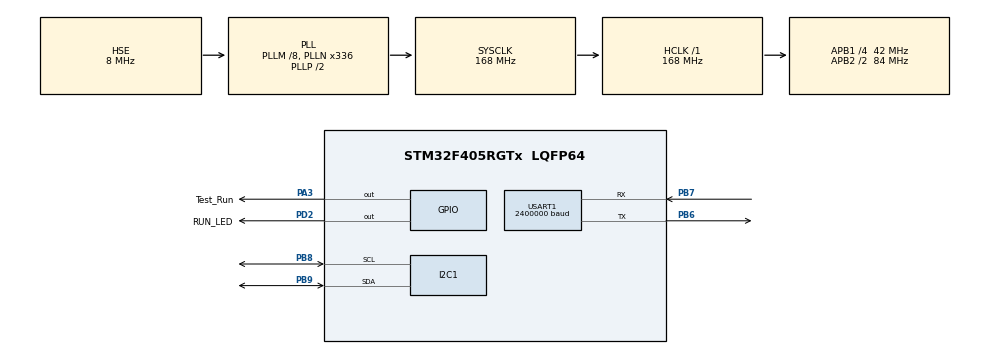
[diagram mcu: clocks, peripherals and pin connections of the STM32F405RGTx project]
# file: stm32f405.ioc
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Dma.Request0=USART1_RX
Dma.USART1_RX.0.Direction=DMA_PERIPH_TO_MEMORY
Dma.USART1_RX.0.FIFOMode=DMA_FIFOMODE_DISABLE
Dma.USART1_RX.0.Instance=DMA2_Stream2
Dma.USART1_RX.0.MemDataAlignment=DMA_MDATAALIGN_BYTE
Dma.USART1_RX.0.MemInc=DMA_MINC_ENABLE
Dma.USART1_RX.0.Mode=DMA_NORMAL
Dma.USART1_RX.0.PeriphDataAlignment=DMA_PDATAALIGN_BYTE
Dma.USART1_RX.0.PeriphInc=DMA_PINC_DISABLE
Dma.USART1_RX.0.Priority=DMA_PRIORITY_HIGH
Mcu.Family=STM32F4
Mcu.Name=STM32F405RGTx
Mcu.Package=LQFP64
NVIC.DMA2_Stream2_IRQn=true\:0\:0\:false\:false\:true\:false\:true\:true
NVIC.PriorityGroup=NVIC_PRIORITYGROUP_4
NVIC.TIM8_TRG_COM_TIM14_IRQn=true\:0\:0\:false\:false\:true\:true\:true\:true
NVIC.USART1_IRQn=true\:1\:0\:true\:false\:true\:true\:true\:true
PA13.Mode=Serial_Wire
PA13.Signal=SYS_JTMS-SWDIO
PA14.Mode=Serial_Wire
PA14.Signal=SYS_JTCK-SWCLK
PA3.GPIO_Label=Test_Run
PA3.GPIO_PuPd=GPIO_PULLDOWN
PA3.GPIO_Speed=GPIO_SPEED_FREQ_VERY_HIGH
PA3.PinState=GPIO_PIN_RESET
PA3.Signal=GPIO_Output
PB6.GPIO_Speed=GPIO_SPEED_FREQ_HIGH
PB6.Mode=Asynchronous
PB6.Signal=USART1_TX
PB7.GPIO_Speed=GPIO_SPEED_FREQ_HIGH
PB7.Mode=Asynchronous
PB7.Signal=USART1_RX
PB8.Mode=I2C
PB8.Signal=I2C1_SCL
PB9.Mode=I2C
PB9.Signal=I2C1_SDA
PD2.GPIO_Label=RUN_LED
PD2.GPIO_PuPd=GPIO_PULLDOWN
PD2.GPIO_Speed=GPIO_SPEED_FREQ_MEDIUM
PD2.PinState=GPIO_PIN_RESET
PD2.Signal=GPIO_Output
PH0-OSC_IN.Mode=HSE-External-Oscillator
PH0-OSC_IN.Signal=RCC_OSC_IN
PH1-OSC_OUT.Mode=HSE-External-Oscillator
PH1-OSC_OUT.Signal=RCC_OSC_OUT
ProjectManager.HeapSize=0x200
ProjectManager.StackSize=0x400
ProjectManager.TargetToolchain=MDK-ARM V5.32
RCC.48MHZClocksFreq_Value=84000000
RCC.AHBFreq_Value=168000000
RCC.APB1CLKDivider=RCC_HCLK_DIV4
RCC.APB1Freq_Value=42000000
RCC.APB1TimFreq_Value=84000000
RCC.APB2CLKDivider=RCC_HCLK_DIV2
RCC.APB2Freq_Value=84000000
RCC.APB2TimFreq_Value=168000000
RCC.CortexFreq_Value=168000000
RCC.HCLKFreq_Value=168000000
RCC.HSE_VALUE=8000000
RCC.HSI_VALUE=16000000
RCC.LSE_VALUE=32768
RCC.PLLM=8
RCC.PLLN=336
RCC.PLLSourceVirtual=RCC_PLLSOURCE_HSE
RCC.SYSCLKFreq_VALUE=168000000
RCC.SYSCLKSource=RCC_SYSCLKSOURCE_PLLCLK
RCC.VCOOutputFreq_Value=336000000
TIM14.AutoReloadPreload=TIM_AUTORELOAD_PRELOAD_ENABLE
TIM14.Period=1000-1
TIM14.Prescaler=84-1
USART1.BaudRate=2400000
USART1.VirtualMode=VM_ASYNC
VP_TIM14_VS_ClockSourceINT.Mode=Enable_Timer
board=custom

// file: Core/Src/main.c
/* USER CODE BEGIN Header */
/**
  ******************************************************************************
  * @file           : main.c
  * @brief          : Main program body
  ******************************************************************************
  * @attention
  *
  * Copyright (c) 2024 STMicroelectronics.
  * All rights reserved.
  *
  * This software is licensed under terms that can be found in the LICENSE file
  * in the root directory of this software component.
  * If no LICENSE file comes with this software, it is provided AS-IS.
  *
  ******************************************************************************
  */
/* USER CODE END Header */
#include "main.h"
#include "dma.h"
#include "i2c.h"
#include "tim.h"
#include "usart.h"
#include "gpio.h"

/* USER CODE BEGIN PTD */
volatile uint8_t RTT_BufferUp0[1024] = {0,};
/* USER CODE END PTD */

/* USER CODE BEGIN PV */
#define SINE_TABLE_SIZE 100
const uint8_t sineTable[SINE_TABLE_SIZE] = {
    128, 136, 144, 152, 160, 167, 175, 182, 189, 196, 202, 208, 214, 219, 224, 229, 233, 237, 240, 243,
    246, 248, 250, 251, 252, 253, 253, 253, 252, 251, 250, 248, 246, 243, 240, 237, 233, 229, 224, 219,
    214, 208, 202, 196, 189, 182, 175, 167, 160, 152, 144, 136, 128, 120, 112, 104,  96,  89,  81,  74,
     67,  60,  54,  48,  42,  37,  32,  27,  23,  19,  16,  13,  10,   8,   6,   5,   4,   3,   3,   3,
      4,   5,   6,   8,  10,  13,  16,  19,  23,  27,  32,  37,  42,  48,  54,  60,  67,  74,  81,  89,
     96, 104, 112, 120
}; // 预先计算的正弦波数据
volatile uint8_t sineIndex = 0;
volatile uint8_t sineValue = 0;
/* USER CODE END PV */

void SystemClock_Config(void);

int main(void)
{

  /* MCU Configuration--------------------------------------------------------*/

  /* Reset of all peripherals, Initializes the Flash interface and the Systick. */
  HAL_Init();

  /* Configure the system clock */
  SystemClock_Config();

  /* Initialize all configured peripherals */
  MX_GPIO_Init();
  MX_DMA_Init();
  MX_USART1_UART_Init();
  MX_I2C1_Init();
  MX_TIM14_Init();
  /* USER CODE BEGIN 2 */
  // 配置MCU -> PC缓冲区（上行缓存区）
  SEGGER_RTT_ConfigUpBuffer(0,                              // 通道0
                            "Buffer0Up",                    // 通道名字
                            (uint8_t*)&RTT_BufferUp0[0],    // 缓存地址
                            sizeof(RTT_BufferUp0),          // 缓存大小
                            SEGGER_RTT_MODE_NO_BLOCK_SKIP); // 非阻塞
  HAL_TIM_Base_Start_IT(&htim14); // 开启定时器中断
  SEGGER_RTT_SetTerminal(0);
  /* USER CODE END 2 */

  /* Infinite loop */
  while (1)
  {

    /* USER CODE BEGIN 3 */
    HAL_GPIO_TogglePin(RUN_LED_GPIO_Port,RUN_LED_Pin);
    HAL_Delay(100);
  }
  /* USER CODE END 3 */
}

void SystemClock_Config(void)
{
  RCC_OscInitTypeDef RCC_OscInitStruct = {0};
  RCC_ClkInitTypeDef RCC_ClkInitStruct = {0};

  /** Configure the main internal regulator output voltage
  */
  __HAL_RCC_PWR_CLK_ENABLE();
  __HAL_PWR_VOLTAGESCALING_CONFIG(PWR_REGULATOR_VOLTAGE_SCALE1);

  /** Initializes the RCC Oscillators according to the specified parameters
  * in the RCC_OscInitTypeDef structure.
  */
  RCC_OscInitStruct.OscillatorType = RCC_OSCILLATORTYPE_HSE;
  RCC_OscInitStruct.HSEState = RCC_HSE_ON;
  RCC_OscInitStruct.PLL.PLLState = RCC_PLL_ON;
  RCC_OscInitStruct.PLL.PLLSource = RCC_PLLSOURCE_HSE;
  RCC_OscInitStruct.PLL.PLLM = 8;
  RCC_OscInitStruct.PLL.PLLN = 336;
  RCC_OscInitStruct.PLL.PLLP = RCC_PLLP_DIV2;
  RCC_OscInitStruct.PLL.PLLQ = 4;
  if (HAL_RCC_OscConfig(&RCC_OscInitStruct) != HAL_OK)
  {
    Error_Handler();
  }

  /** Initializes the CPU, AHB and APB buses clocks
  */
  RCC_ClkInitStruct.ClockType = RCC_CLOCKTYPE_HCLK|RCC_CLOCKTYPE_SYSCLK
                              |RCC_CLOCKTYPE_PCLK1|RCC_CLOCKTYPE_PCLK2;
  RCC_ClkInitStruct.SYSCLKSource = RCC_SYSCLKSOURCE_PLLCLK;
  RCC_ClkInitStruct.AHBCLKDivider = RCC_SYSCLK_DIV1;
  RCC_ClkInitStruct.APB1CLKDivider = RCC_HCLK_DIV4;
  RCC_ClkInitStruct.APB2CLKDivider = RCC_HCLK_DIV2;

  if (HAL_RCC_ClockConfig(&RCC_ClkInitStruct, FLASH_LATENCY_5) != HAL_OK)
  {
    Error_Handler();
  }
}

/* USER CODE BEGIN 4 */
void HAL_TIM_PeriodElapsedCallback(TIM_HandleTypeDef *htim)
{
    if (htim == (&htim14))
    {
        // 输出正弦波数据
        sineValue = sineTable[sineIndex];

        SEGGER_RTT_printf(0, "Sine Value: %d\n", sineValue); // 输出到RTT Viewer

        // 更新索引
        sineIndex++;
        if (sineIndex >= SINE_TABLE_SIZE)
        {
            sineIndex = 0; // 重置索引
        }
    }
}
/* USER CODE END 4 */

void Error_Handler(void)
{
  __disable_irq();
  while (1)
  {
  }
}
